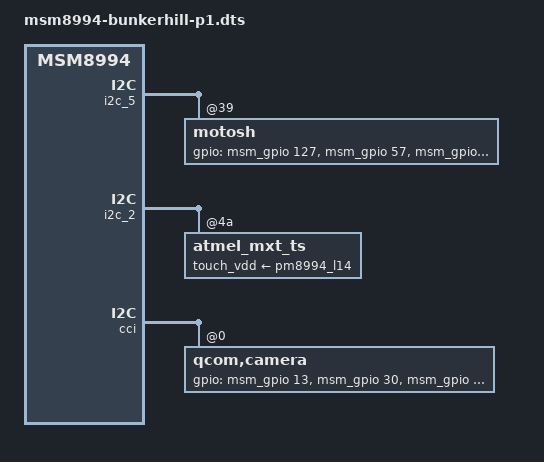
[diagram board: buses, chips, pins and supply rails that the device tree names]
/* Copyright (c) 2014, Motorla Mobility LLC. All rights reserved.
 *
 * This program is free software; you can redistribute it and/or modify
 * it under the terms of the GNU General Public License version 2 and
 * only version 2 as published by the Free Software Foundation.
 *
 * This program is distributed in the hope that it will be useful,
 * but WITHOUT ANY WARRANTY; without even the implied warranty of
 * MERCHANTABILITY or FITNESS FOR A PARTICULAR PURPOSE.  See the
 * GNU General Public License for more details.
 */


/dts-v1/;

#include "msm8994-v1-bunkerhill.dtsi"

/ {
	qcom,board-id = <0x41 0x8100>;
};

&i2c_5 {
	motosh@39 {
		gpios = <&msm_gpio 127 0>,      /* IRQ          */
			<&msm_gpio 57 0>,       /* RESET        */
			<&msm_gpio 78 0>,       /* BSLEN        */
			<&msm_gpio 65 0>,       /* WakeIRQ      */
			<&msm_gpio 89 0>,       /* SH Wake      */
			<&msm_gpio 16 0>;       /* SH Wake Resp */
	};
};

&tlmm_pinmux {
	pmx_motosh_out {
		qcom,pins = <&gp 57 &gp 78 &gp 89>;
		qcom,num-grp-pins = <3>;
	};
};

&i2c_2 {
	atmel_mxt_ts@4a {
		touch_vdd-supply = <&pm8994_l14>;
	};
};

&cci {
	qcom,camera@0 {
		gpios = <&msm_gpio 13 0>,
			<&msm_gpio 30 0>,
			<&msm_gpio 95 0>,
			<&msm_gpio 131 0>;
	};
};
